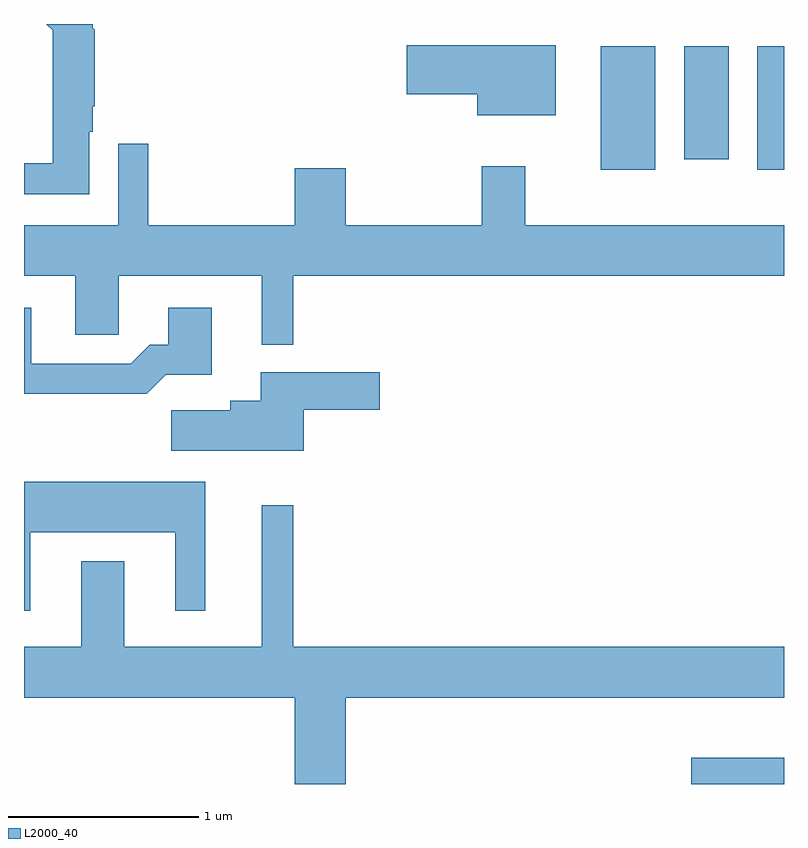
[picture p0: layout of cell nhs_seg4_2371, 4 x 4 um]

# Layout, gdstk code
import gdstk
lib = gdstk.Library(unit=1e-6, precision=1e-09)
def R(c, l, rs):  # rectangles x0, y0, x1, y1
    for r in rs: c.add(gdstk.rectangle(r[:2], r[2:], *l))
def P(c, l, *ps):  # polygons
    for p in ps: c.add(gdstk.Polygon(p, *l))
L2000_40 = (2000, 40)

nhs_seg4_2371 = lib.new_cell('nhs_seg4_2371')
R(nhs_seg4_2371, L2000_40, [(257.123,1371.982,257.611,1372.119), (256.646,1375.216,256.934,1375.864), (257.471,1375.216,257.611,1375.864), (257.086,1375.271,257.319,1375.864)])
P(nhs_seg4_2371, L2000_40, [(253.954,1375.416),(253.974,1375.416),(253.974,1375.55),(253.984,1375.55),(253.984,1375.951),(253.974,1375.961),(253.974,1375.982),(253.728,1375.982),(253.761,1375.949),(253.761,1375.249),(253.611,1375.249),(253.611,1375.086),(253.954,1375.086)],
  [(256.409,1375.869),(255.626,1375.869),(255.626,1375.611),(255.996,1375.611),(255.996,1375.501),(256.409,1375.501)],
  [(255.029,1374.656),(257.611,1374.656),(257.611,1374.924),(256.249,1374.924),(256.249,1375.234),(256.021,1375.234),(256.021,1374.924),(255.304,1374.924),(255.304,1375.224),(255.036,1375.224),(255.036,1374.924),(254.264,1374.924),(254.264,1375.353),(254.106,1375.353),(254.106,1374.924),(253.611,1374.924),(253.611,1374.656),(253.881,1374.656),(253.881,1374.346),(254.109,1374.346),(254.109,1374.656),(254.861,1374.656),(254.861,1374.293),(255.029,1374.293)],
  [(254.357,1374.136),(254.599,1374.136),(254.599,1374.489),(254.371,1374.489),(254.371,1374.294),(254.274,1374.294),(254.174,1374.194),(253.649,1374.194),(253.649,1374.489),(253.611,1374.489),(253.611,1374.036),(254.257,1374.036)],
  [(255.084,1373.951),(255.484,1373.951),(255.484,1374.149),(254.856,1374.149),(254.856,1373.999),(254.696,1373.999),(254.696,1373.949),(254.386,1373.949),(254.386,1373.736),(255.084,1373.736)],
  [(253.644,1373.306),(254.406,1373.306),(254.406,1372.893),(254.564,1372.893),(254.564,1373.574),(253.611,1373.574),(253.611,1372.893),(253.644,1372.893)],
  [(255.304,1372.436),(257.611,1372.436),(257.611,1372.704),(255.029,1372.704),(255.029,1373.448),(254.861,1373.448),(254.861,1372.704),(254.139,1372.704),(254.139,1373.154),(253.911,1373.154),(253.911,1372.704),(253.611,1372.704),(253.611,1372.436),(255.036,1372.436),(255.036,1371.982),(255.304,1371.982)])

lib.write_gds('nhs_seg4_2371.gds')
